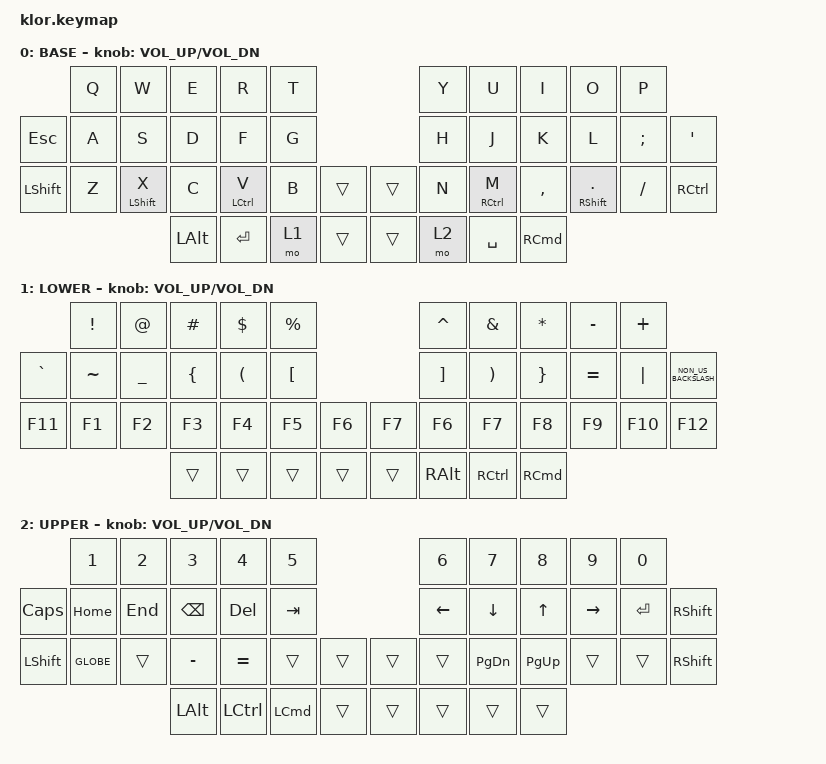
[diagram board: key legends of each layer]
//                               █         █    █            ▄▄▄▀▀▀▀▀▀▄▄▄        █▀▀▀▀▀▀▀▀▀▀█
//                               █        █     █          ▄▀            ▀▄      █          █
//                               █       █      █        ▄▀                ▀▄    █          █
//                               █      █       █        █                  █    █          █
//                               █     █        █       █                    █   █          █
//                               █    █         █       █                    █   █▄▄▄▄▄▄▄▄▄▄█
//                               █   █ █        █       █                    █   █      █
//                               █  █   █       █        █                  █    █       █
//                               █ █     █      █        ▀▄                ▄▀    █        █
//                               ██       █     █          ▀▄            ▄▀      █         █
//                               █         █    █▄▄▄▄▄▄▄▄    ▀▀▀▄▄▄▄▄▄▀▀▀        █          █
//
// ▄▄▄▄▄▄▄▄▄▄▄▄▄▄▄▄▄▄▄▄▄▄▄▄▄▄▄▄▄▄▄▄▄▄▄▄▄▄▄▄▄▄▄▄▄▄▄▄▄▄▄▄▄▄▄▄▄▄▄▄▄▄▄▄▄▄▄▄▄▄▄▄▄▄▄▄▄▄▄▄▄▄▄▄▄▄▄▄▄▄▄▄▄▄▄▄▄▄▄▄▄▄▄▄▄▄▄▄▄▄▄▄▄▄▄▄▄▄▄▄▄▄▄▄▄

#include <behaviors.dtsi>
#include <dt-bindings/zmk/keys.h>

#define BASE   0
#define LOWER  1
#define RAISE  2
#define ADJUST 3

/ {
    behaviors {
        hm: homerow_mods {
            compatible = "zmk,behavior-hold-tap";
            label = "HOMEROW_MODS";
            #binding-cells = <2>;
            tapping-term-ms = <150>;
            quick_tap_ms = <0>;
            flavor = "tap-preferred";
            bindings = <&kp>, <&kp>;
        };
    };

    combos {
        compatible = "zmk,combos";

        combo_esc {
            timeout-ms = <50>;
            key-positions = <0 1>;
            bindings = <&kp ESC>;
        };
    };

    keymap {
        compatible = "zmk,keymap";

        // ▄▄▄▄▄▄▄▄▄▄▄▄▄▄▄▄▄▄▄▄▄▄▄▄▄▄▄▄▄▄▄▄▄▄▄▄▄▄▄▄▄▄▄▄▄▄▄▄▄▄▄▄▄▄▄▄▄▄▄▄▄▄▄▄▄▄▄▄▄▄▄▄▄▄▄▄▄▄▄▄▄▄▄▄▄▄▄▄▄▄▄▄▄▄▄▄▄▄▄▄▄▄▄▄▄▄▄▄▄▄▄▄▄▄▄▄▄▄▄▄▄▄▄▄▄▄▄▄▄▄▄▄▄▄▄▄▄▄▄▄▄▄

        base_layer {
            // ┌───────────────────────────────────────────────────────────┐

            label = "BASE";

            // └───────────────────────────────────────────────────────────┘
            /*           ┌─────────┬─────────┬─────────┬─────────┬─────────┐                    ┌─────────┬─────────┬─────────┬─────────┬─────────┐
             │    Q    │    W    │    F    │    P    │    G    │                    │    J    │    L    │    U    │    Y    │    ;    │   
   ┌─────────┼─────────┼─────────┼─────────┼─────────┼─────────┤                    ├─────────┼─────────┼─────────┼─────────┼─────────┼─────────┐
   │   TAB   │    A    │    R    │    S    │    T    │    D    │                    │    H    │    N    │    E    │    I    │    O    │    "    │
   ├─────────┼─────────┼─────────┼─────────┼─────────┼─────────┤╭────────╮╭────────╮├─────────┼─────────┼─────────┼─────────┼─────────┼─────────┤
   │   DEL   │    Z    │    X    │    C    │    V    │    B    ││  MUTE  ││PLY/PSE ││    K    │    M    │    ,    │    .    │    /    │    \    │
   └─────────┴─────────┴─────────┼─────────┼─────────┼─────────┼╰────────╯╰────────╯┼─────────┼─────────┼─────────┼─────────┴─────────┴─────────┘
                                 │  CTRL   │  LOWER  │  SPACE  │   ALT   ││ CMD/WIN │  ENTER  │  RAISE  │  BSPCE  │  
                                 └─────────┴─────────┴─────────┴─────────┘└─────────┴─────────┴─────────┴─────────┘ */

            bindings = <
                &kp Q  &kp W             &kp E         &kp R               &kp T                  &kp Y  &kp U                &kp I              &kp O                   &kp P
&kp ESCAPE      &kp A  &kp S             &kp D         &kp F               &kp G                  &kp H  &kp J                &kp K              &kp L                   &kp SEMICOLON  &kp SQT
&kp LEFT_SHIFT  &kp Z  &mt LEFT_SHIFT X  &kp C         &mt LEFT_CONTROL V  &kp B  &trans  &trans  &kp N  &mt RIGHT_CONTROL M  &kp COMMA          &mt RIGHT_SHIFT PERIOD  &kp SLASH      &kp RIGHT_CONTROL
                                         &kp LEFT_ALT  &kp ENTER           &mo 1  &trans  &trans  &mo 2  &kp SPACE            &kp RIGHT_COMMAND
            >;

            sensor-bindings = <&inc_dec_kp C_VOL_UP C_VOL_DN>;
        };

        // ▄▄▄▄▄▄▄▄▄▄▄▄▄▄▄▄▄▄▄▄▄▄▄▄▄▄▄▄▄▄▄▄▄▄▄▄▄▄▄▄▄▄▄▄▄▄▄▄▄▄▄▄▄▄▄▄▄▄▄▄▄▄▄▄▄▄▄▄▄▄▄▄▄▄▄▄▄▄▄▄▄▄▄▄▄▄▄▄▄▄▄▄▄▄▄▄▄▄▄▄▄▄▄▄▄▄▄▄▄▄▄▄▄▄▄▄▄▄▄▄▄▄▄▄▄▄▄▄▄▄▄▄▄▄▄▄▄▄▄▄▄▄

        lower_layer {
            // ┌───────────────────────────────────────────────────────────┐

            label = "LOWER";

            // └───────────────────────────────────────────────────────────┘
            /*           ┌─────────┬─────────┬─────────┬─────────┬─────────┐                    ┌─────────┬─────────┬─────────┬─────────┬─────────┐
             │         │         │    UP   │         │    {    │                    │    }    │    7    │    8    │    9    │    +    │
   ┌─────────┼─────────┼─────────┼─────────┼─────────┼─────────┤                    ├─────────┼─────────┼─────────┼─────────┼─────────┼─────────┐
   │         │         │   LEFT  │  DOWN   │  RIGHT  │    [    │                    │    ]    │    4    │    5    │    6    │    -    │         │
   ├─────────┼─────────┼─────────┼─────────┼─────────┼─────────┤╭────────╮╭────────╮├─────────┼─────────┼─────────┼─────────┼─────────┼─────────┤
   │         │         │   P UP  │ C LOCK  │ P DOWN  │    (    ││        ││        ││    )    │    1    │    2    │    3    │    *    │         │
   └─────────┴─────────┴─────────┼─────────┼─────────┼─────────┼╰────────╯╰────────╯┼─────────┼─────────┼─────────┼─────────┴─────────┴─────────┘
                                 │         │         │         │         ││         │         │    0    │         │  
                                 └─────────┴─────────┴─────────┴─────────┘└─────────┴─────────┴─────────┴─────────┘ */

            bindings = <
           &kp EXCLAMATION  &kp AT_SIGN     &kp HASH        &kp DOLLAR            &kp PERCENT                       &kp CARET          &kp AMPERSAND          &kp ASTERISK       &kp MINUS  &kp PLUS
&kp GRAVE  &kp TILDE        &kp UNDERSCORE  &kp LEFT_BRACE  &kp LEFT_PARENTHESIS  &kp LEFT_BRACKET                  &kp RIGHT_BRACKET  &kp RIGHT_PARENTHESIS  &kp RIGHT_BRACE    &kp EQUAL  &kp PIPE  &kp NON_US_BACKSLASH
&kp F11    &kp F1           &kp F2          &kp F3          &kp F4                &kp F5            &kp F6  &kp F7  &kp F6             &kp F7                 &kp F8             &kp F9     &kp F10   &kp F12
                                            &trans          &trans                &trans            &trans  &trans  &kp RIGHT_ALT      &kp RCTRL              &kp RIGHT_COMMAND
            >;

            sensor-bindings = <&inc_dec_kp C_VOL_UP C_VOL_DN>;
        };

        // ▄▄▄▄▄▄▄▄▄▄▄▄▄▄▄▄▄▄▄▄▄▄▄▄▄▄▄▄▄▄▄▄▄▄▄▄▄▄▄▄▄▄▄▄▄▄▄▄▄▄▄▄▄▄▄▄▄▄▄▄▄▄▄▄▄▄▄▄▄▄▄▄▄▄▄▄▄▄▄▄▄▄▄▄▄▄▄▄▄▄▄▄▄▄▄▄▄▄▄▄▄▄▄▄▄▄▄▄▄▄▄▄▄▄▄▄▄▄▄▄▄▄▄▄▄
        // ▄▄▄▄▄▄▄▄▄▄▄▄▄▄▄▄▄▄▄▄▄▄▄▄▄▄▄▄▄▄▄▄▄▄▄▄▄▄▄▄▄▄▄▄▄▄▄▄▄▄▄▄▄▄▄▄▄▄▄▄▄▄▄▄▄▄▄▄▄▄▄▄▄▄▄▄▄▄▄▄▄▄▄▄▄▄▄▄▄▄▄▄▄▄▄▄▄▄▄▄▄▄▄▄▄▄▄▄▄▄▄▄▄▄▄▄▄▄▄▄▄▄▄▄▄

        upper {
            label = "UPPER";
            bindings = <
                &kp NUMBER_1  &kp NUMBER_2  &kp NUMBER_3   &kp NUMBER_4  &kp N5                            &kp NUMBER_6  &kp N7          &kp N8        &kp N9     &kp N0
&kp CAPS        &kp HOME      &kp END       &kp BACKSPACE  &kp DELETE    &kp TAB                           &kp LEFT      &kp DOWN_ARROW  &kp UP_ARROW  &kp RIGHT  &kp ENTER  &kp RIGHT_SHIFT
&kp LEFT_SHIFT  &kp GLOBE     &trans        &kp MINUS      &kp EQUAL     &trans            &trans  &trans  &trans        &kp PAGE_DOWN   &kp PG_UP     &trans     &trans     &kp RIGHT_SHIFT
                                            &kp LEFT_ALT   &kp LCTRL     &kp LEFT_COMMAND  &trans  &trans  &trans        &trans          &trans
            >;

            sensor-bindings = <&inc_dec_kp C_VOL_UP C_VOL_DN>;
        };
    };
};
